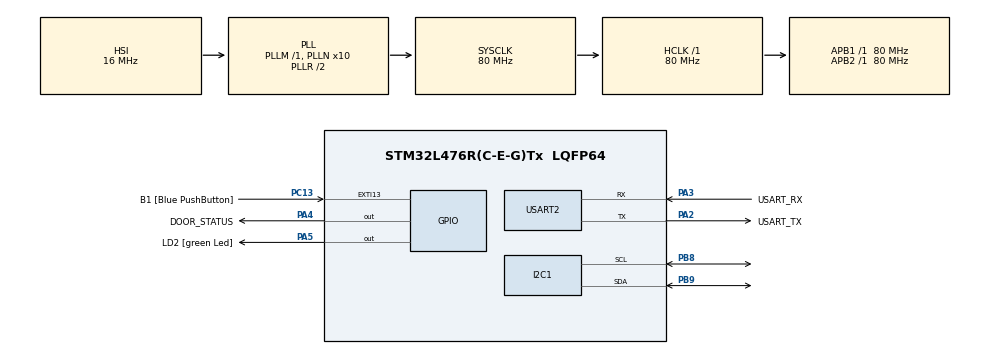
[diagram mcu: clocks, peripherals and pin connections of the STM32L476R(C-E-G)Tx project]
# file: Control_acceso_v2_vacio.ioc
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I2C1.Timing=0x10D19CE4
Mcu.Family=STM32L4
Mcu.Name=STM32L476R(C-E-G)Tx
Mcu.Package=LQFP64
NVIC.EXTI15_10_IRQn=true\:0\:0\:false\:false\:true\:true\:true\:true
NVIC.PriorityGroup=NVIC_PRIORITYGROUP_4
NVIC.USART2_IRQn=true\:0\:0\:false\:false\:true\:true\:true\:true
PA13\ (JTMS-SWDIO).GPIO_Label=TMS
PA13\ (JTMS-SWDIO).Mode=Serial_Wire
PA13\ (JTMS-SWDIO).Signal=SYS_JTMS-SWDIO
PA14\ (JTCK-SWCLK).GPIO_Label=TCK
PA14\ (JTCK-SWCLK).Mode=Serial_Wire
PA14\ (JTCK-SWCLK).Signal=SYS_JTCK-SWCLK
PA2.GPIO_Label=USART_TX
PA2.GPIO_Mode=GPIO_MODE_AF_PP
PA2.GPIO_PuPd=GPIO_NOPULL
PA2.GPIO_Speed=GPIO_SPEED_FREQ_VERY_HIGH
PA2.Mode=Asynchronous
PA2.Signal=USART2_TX
PA3.GPIO_Label=USART_RX
PA3.GPIO_Mode=GPIO_MODE_AF_PP
PA3.GPIO_PuPd=GPIO_NOPULL
PA3.GPIO_Speed=GPIO_SPEED_FREQ_VERY_HIGH
PA3.Mode=Asynchronous
PA3.Signal=USART2_RX
PA4.GPIO_Label=DOOR_STATUS
PA4.Signal=GPIO_Output
PA5.GPIO_Label=LD2 [green Led]
PA5.GPIO_ModeDefaultOutputPP=GPIO_MODE_OUTPUT_PP
PA5.GPIO_PuPd=GPIO_NOPULL
PA5.GPIO_Speed=GPIO_SPEED_FREQ_LOW
PA5.Signal=GPIO_Output
PB3\ (JTDO-TRACESWO).GPIO_Label=SWO
PB3\ (JTDO-TRACESWO).Signal=SYS_JTDO-SWO
PB8.Mode=I2C
PB8.Signal=I2C1_SCL
PB9.Mode=I2C
PB9.Signal=I2C1_SDA
PC13.GPIO_Label=B1 [Blue PushButton]
PC13.GPIO_ModeDefaultEXTI=GPIO_MODE_IT_FALLING
PC13.GPIO_PuPd=GPIO_NOPULL
PC13.Signal=GPXTI13
PC14-OSC32_IN\ (PC14).Mode=LSE-External-Oscillator
PC14-OSC32_IN\ (PC14).Signal=RCC_OSC32_IN
PC15-OSC32_OUT\ (PC15).Mode=LSE-External-Oscillator
PC15-OSC32_OUT\ (PC15).Signal=RCC_OSC32_OUT
PH0-OSC_IN\ (PH0).Signal=RCC_OSC_IN
PH1-OSC_OUT\ (PH1).Signal=RCC_OSC_OUT
ProjectManager.HeapSize=0x200
ProjectManager.StackSize=0x400
ProjectManager.TargetToolchain=CMake
RCC.ADCFreq_Value=64000000
RCC.AHBFreq_Value=80000000
RCC.APB1Freq_Value=80000000
RCC.APB1TimFreq_Value=80000000
RCC.APB2Freq_Value=80000000
RCC.APB2TimFreq_Value=80000000
RCC.CortexFreq_Value=80000000
RCC.HCLKFreq_Value=80000000
RCC.HSE_VALUE=8000000
RCC.HSI_VALUE=16000000
RCC.MSI_VALUE=4000000
RCC.PLLN=10
RCC.PLLSourceVirtual=RCC_PLLSOURCE_HSI
RCC.PREFETCH_ENABLE=1
RCC.SYSCLKFreq_VALUE=80000000
RCC.SYSCLKSource=RCC_SYSCLKSOURCE_PLLCLK
RCC.USBFreq_Value=64000000
RCC.VCOOutputFreq_Value=160000000
USART2.VirtualMode-Asynchronous=VM_ASYNC
board=NUCLEO-L476RG

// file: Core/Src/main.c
/* USER CODE BEGIN Header */
/**
  ******************************************************************************
  * @file           : main.c
  * @brief          : Main program body
  ******************************************************************************
  * @attention
  *
  * Copyright (c) 2025 STMicroelectronics.
  * All rights reserved.
  *
  * This software is licensed under terms that can be found in the LICENSE file
  * in the root directory of this software component.
  * If no LICENSE file comes with this software, it is provided AS-IS.
  *
  ******************************************************************************
  */
/* USER CODE END Header */
#include "main.h"

/* USER CODE BEGIN Includes */
#include "button.h"
#include "state_machine.h"

#include "ssd1306_fonts.h"
#include "animation.h"

/* USER CODE END Includes */

I2C_HandleTypeDef hi2c1;

UART_HandleTypeDef huart2;

/* USER CODE BEGIN PV */
uint8_t rx_byte = 0;
uint8_t b1_byte = 0;

// Variable para el conteo de frames
const uint32_t animate_count = 49;
/* USER CODE END PV */

void SystemClock_Config(void);
static void MX_GPIO_Init(void);
static void MX_USART2_UART_Init(void);
static void MX_I2C1_Init(void);

/* USER CODE BEGIN 0 */
void HAL_UART_RxCpltCallback(UART_HandleTypeDef *huart)
{
    if (huart->Instance == USART2) {
        HAL_UART_Receive_IT(&huart2, &rx_byte, 1);
    }
}

void HAL_GPIO_EXTI_Callback(uint16_t GPIO_Pin)
{
    if (GPIO_Pin == B1_Pin) {
        b1_byte = detect_button_press();
    }
}

void play_animation(void) {
    // Calcular número de frames
    const uint32_t total_frames = sizeof(evangelion_frames) / sizeof(evangelion_frames[0]);

    // Bucle principal de animación
    while(1) {
        for(uint32_t i = 0; i < total_frames; i++) {
            // Limpiar buffer
            ssd1306_Fill(Black);

            // Dibujar frame actual
            ssd1306_DrawBitmap(
                0,  // X position
                0,  // Y position
                evangelion_frames[i],  // Frame data
                128,  // Ancho pantalla
                64,   // Alto pantalla
                White
            );

            // Actualizar pantalla
            ssd1306_UpdateScreen();

            // Delay para 15 FPS (1000ms/15 ≈ 66.67ms)
            HAL_Delay(67);
        }
    }
}
/* USER CODE END 0 */

int main(void)
{

  /* MCU Configuration--------------------------------------------------------*/

  /* Reset of all peripherals, Initializes the Flash interface and the Systick. */
  HAL_Init();

  /* Configure the system clock */
  SystemClock_Config();

  /* Initialize all configured peripherals */
  MX_GPIO_Init();
  MX_USART2_UART_Init();
  MX_I2C1_Init();
  /* USER CODE BEGIN 2 */
  ssd1306_Init();

  //ssd1306_Fill(Black);
  //ssd1306_DrawBitmap(0, 0, image_data, 128, 64, White);
  //ssd1306_Fill(White);
  //ssd1306_WriteString("Hello, World!", Font_6x8, Black);

  /* USER CODE END 2 */

  /* Infinite loop */
  while (1)
  {
    //ssd1306_UpdateScreen();
    play_animation();
  }
}

void SystemClock_Config(void)
{
  RCC_OscInitTypeDef RCC_OscInitStruct = {0};
  RCC_ClkInitTypeDef RCC_ClkInitStruct = {0};

  /** Configure the main internal regulator output voltage
  */
  if (HAL_PWREx_ControlVoltageScaling(PWR_REGULATOR_VOLTAGE_SCALE1) != HAL_OK)
  {
    Error_Handler();
  }

  /** Initializes the RCC Oscillators according to the specified parameters
  * in the RCC_OscInitTypeDef structure.
  */
  RCC_OscInitStruct.OscillatorType = RCC_OSCILLATORTYPE_HSI;
  RCC_OscInitStruct.HSIState = RCC_HSI_ON;
  RCC_OscInitStruct.HSICalibrationValue = RCC_HSICALIBRATION_DEFAULT;
  RCC_OscInitStruct.PLL.PLLState = RCC_PLL_ON;
  RCC_OscInitStruct.PLL.PLLSource = RCC_PLLSOURCE_HSI;
  RCC_OscInitStruct.PLL.PLLM = 1;
  RCC_OscInitStruct.PLL.PLLN = 10;
  RCC_OscInitStruct.PLL.PLLP = RCC_PLLP_DIV7;
  RCC_OscInitStruct.PLL.PLLQ = RCC_PLLQ_DIV2;
  RCC_OscInitStruct.PLL.PLLR = RCC_PLLR_DIV2;
  if (HAL_RCC_OscConfig(&RCC_OscInitStruct) != HAL_OK)
  {
    Error_Handler();
  }

  /** Initializes the CPU, AHB and APB buses clocks
  */
  RCC_ClkInitStruct.ClockType = RCC_CLOCKTYPE_HCLK|RCC_CLOCKTYPE_SYSCLK
                              |RCC_CLOCKTYPE_PCLK1|RCC_CLOCKTYPE_PCLK2;
  RCC_ClkInitStruct.SYSCLKSource = RCC_SYSCLKSOURCE_PLLCLK;
  RCC_ClkInitStruct.AHBCLKDivider = RCC_SYSCLK_DIV1;
  RCC_ClkInitStruct.APB1CLKDivider = RCC_HCLK_DIV1;
  RCC_ClkInitStruct.APB2CLKDivider = RCC_HCLK_DIV1;

  if (HAL_RCC_ClockConfig(&RCC_ClkInitStruct, FLASH_LATENCY_4) != HAL_OK)
  {
    Error_Handler();
  }
}

static void MX_I2C1_Init(void)
{

  hi2c1.Instance = I2C1;
  hi2c1.Init.Timing = 0x10D19CE4;
  hi2c1.Init.OwnAddress1 = 0;
  hi2c1.Init.AddressingMode = I2C_ADDRESSINGMODE_7BIT;
  hi2c1.Init.DualAddressMode = I2C_DUALADDRESS_DISABLE;
  hi2c1.Init.OwnAddress2 = 0;
  hi2c1.Init.OwnAddress2Masks = I2C_OA2_NOMASK;
  hi2c1.Init.GeneralCallMode = I2C_GENERALCALL_DISABLE;
  hi2c1.Init.NoStretchMode = I2C_NOSTRETCH_DISABLE;
  if (HAL_I2C_Init(&hi2c1) != HAL_OK)
  {
    Error_Handler();
  }

  /** Configure Analogue filter
  */
  if (HAL_I2CEx_ConfigAnalogFilter(&hi2c1, I2C_ANALOGFILTER_ENABLE) != HAL_OK)
  {
    Error_Handler();
  }

  /** Configure Digital filter
  */
  if (HAL_I2CEx_ConfigDigitalFilter(&hi2c1, 0) != HAL_OK)
  {
    Error_Handler();
  }

}

static void MX_USART2_UART_Init(void)
{

  huart2.Instance = USART2;
  huart2.Init.BaudRate = 115200;
  huart2.Init.WordLength = UART_WORDLENGTH_8B;
  huart2.Init.StopBits = UART_STOPBITS_1;
  huart2.Init.Parity = UART_PARITY_NONE;
  huart2.Init.Mode = UART_MODE_TX_RX;
  huart2.Init.HwFlowCtl = UART_HWCONTROL_NONE;
  huart2.Init.OverSampling = UART_OVERSAMPLING_16;
  huart2.Init.OneBitSampling = UART_ONE_BIT_SAMPLE_DISABLE;
  huart2.AdvancedInit.AdvFeatureInit = UART_ADVFEATURE_NO_INIT;
  if (HAL_UART_Init(&huart2) != HAL_OK)
  {
    Error_Handler();
  }

}

static void MX_GPIO_Init(void)
{
  GPIO_InitTypeDef GPIO_InitStruct = {0};

  /* GPIO Ports Clock Enable */
  __HAL_RCC_GPIOC_CLK_ENABLE();
  __HAL_RCC_GPIOH_CLK_ENABLE();
  __HAL_RCC_GPIOA_CLK_ENABLE();
  __HAL_RCC_GPIOB_CLK_ENABLE();

  /*Configure GPIO pin Output Level */
  HAL_GPIO_WritePin(GPIOA, DOOR_STATUS_Pin|LD2_Pin, GPIO_PIN_RESET);

  /*Configure GPIO pin : B1_Pin */
  GPIO_InitStruct.Pin = B1_Pin;
  GPIO_InitStruct.Mode = GPIO_MODE_IT_FALLING;
  GPIO_InitStruct.Pull = GPIO_NOPULL;
  HAL_GPIO_Init(B1_GPIO_Port, &GPIO_InitStruct);

  /*Configure GPIO pins : DOOR_STATUS_Pin LD2_Pin */
  GPIO_InitStruct.Pin = DOOR_STATUS_Pin|LD2_Pin;
  GPIO_InitStruct.Mode = GPIO_MODE_OUTPUT_PP;
  GPIO_InitStruct.Pull = GPIO_NOPULL;
  GPIO_InitStruct.Speed = GPIO_SPEED_FREQ_LOW;
  HAL_GPIO_Init(GPIOA, &GPIO_InitStruct);

  /* EXTI interrupt init*/
  HAL_NVIC_SetPriority(EXTI15_10_IRQn, 0, 0);
  HAL_NVIC_EnableIRQ(EXTI15_10_IRQn);

}

void Error_Handler(void)
{
  __disable_irq();
  while (1)
  {
  }
}
